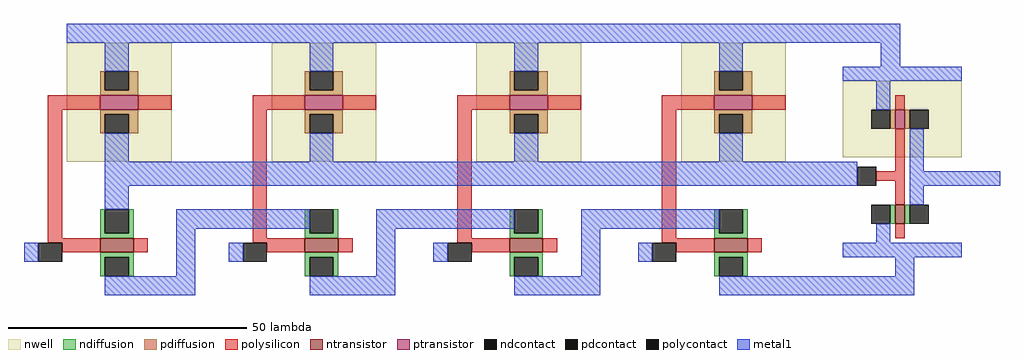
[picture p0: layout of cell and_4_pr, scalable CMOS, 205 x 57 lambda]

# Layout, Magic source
magic
tech scmos
<< nwell >>
rect -30 -6 -8 19
rect 13 -6 35 19
rect 56 -6 78 19
rect 99 -6 121 19
<< ntransistor >>
rect -23 -25 -16 -22
rect 20 -25 27 -22
rect 63 -25 70 -22
rect 106 -25 113 -22
<< ptransistor >>
rect -23 5 -15 8
rect 20 5 28 8
rect 63 5 71 8
rect 106 5 114 8
<< ndiffusion >>
rect -23 -21 -22 -16
rect -17 -21 -16 -16
rect -23 -22 -16 -21
rect 20 -21 21 -16
rect 26 -21 27 -16
rect 20 -22 27 -21
rect 63 -21 64 -16
rect 69 -21 70 -16
rect 63 -22 70 -21
rect 106 -21 107 -16
rect 112 -21 113 -16
rect 106 -22 113 -21
rect -23 -26 -16 -25
rect -23 -30 -22 -26
rect -17 -30 -16 -26
rect 20 -26 27 -25
rect 20 -30 21 -26
rect 26 -30 27 -26
rect 63 -26 70 -25
rect 63 -30 64 -26
rect 69 -30 70 -26
rect 106 -26 113 -25
rect 106 -30 107 -26
rect 112 -30 113 -26
<< pdiffusion >>
rect -23 9 -22 13
rect -17 9 -15 13
rect -23 8 -15 9
rect 20 9 21 13
rect 26 9 28 13
rect 20 8 28 9
rect 63 9 64 13
rect 69 9 71 13
rect 63 8 71 9
rect 106 9 107 13
rect 112 9 114 13
rect 106 8 114 9
rect -23 4 -15 5
rect -23 0 -22 4
rect -17 0 -15 4
rect 20 4 28 5
rect 20 0 21 4
rect 26 0 28 4
rect 63 4 71 5
rect 63 0 64 4
rect 69 0 71 4
rect 106 4 114 5
rect 106 0 107 4
rect 112 0 114 4
<< ndcontact >>
rect -22 -21 -17 -16
rect 21 -21 26 -16
rect 64 -21 69 -16
rect 107 -21 112 -16
rect -22 -30 -17 -26
rect 21 -30 26 -26
rect 64 -30 69 -26
rect 107 -30 112 -26
<< pdcontact >>
rect -22 9 -17 13
rect 21 9 26 13
rect 64 9 69 13
rect 107 9 112 13
rect -22 0 -17 4
rect 21 0 26 4
rect 64 0 69 4
rect 107 0 112 4
<< polysilicon >>
rect -34 5 -23 8
rect -15 5 -8 8
rect 9 5 20 8
rect 28 5 35 8
rect 52 5 63 8
rect 71 5 78 8
rect 95 5 106 8
rect 114 5 121 8
rect -34 -22 -31 5
rect 9 -22 12 5
rect 52 -22 55 5
rect 95 -22 98 5
rect -34 -23 -23 -22
rect -31 -25 -23 -23
rect -16 -25 -13 -22
rect 9 -23 20 -22
rect 12 -25 20 -23
rect 27 -25 30 -22
rect 52 -23 63 -22
rect 55 -25 63 -23
rect 70 -25 73 -22
rect 95 -23 106 -22
rect 98 -25 106 -23
rect 113 -25 116 -22
<< polycontact >>
rect -36 -27 -31 -23
rect 7 -27 12 -23
rect 50 -27 55 -23
rect 93 -27 98 -23
<< metal1 >>
rect -30 19 145 23
rect -22 13 -17 19
rect 21 13 26 19
rect 64 13 69 19
rect 107 13 112 19
rect 141 12 145 19
rect -22 -6 -17 0
rect 21 -6 26 0
rect 64 -6 69 0
rect 107 -6 112 0
rect -22 -11 136 -6
rect 155 -11 166 -8
rect -22 -16 -17 -11
rect -7 -20 21 -16
rect -39 -27 -36 -23
rect -7 -30 -3 -20
rect 35 -20 64 -16
rect 4 -27 7 -23
rect -22 -34 -3 -30
rect 35 -30 39 -20
rect 78 -20 107 -16
rect 47 -27 50 -23
rect 21 -34 39 -30
rect 78 -30 82 -20
rect 90 -27 93 -23
rect 64 -34 82 -30
rect 144 -30 148 -24
rect 107 -34 148 -30
use inverter_unlab_pr  inverter_unlab_pr_0 /home/rupakantani
transform 1 0 142 0 1 -6
box -9 -20 16 20
<< end >>

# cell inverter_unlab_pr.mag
magic
tech scmos
<< nwell >>
rect -9 1 16 17
<< ntransistor >>
rect 2 -13 4 -9
<< ptransistor >>
rect 2 7 4 11
<< ndiffusion >>
rect 1 -13 2 -9
rect 4 -13 5 -9
<< pdiffusion >>
rect 1 7 2 11
rect 4 7 5 11
<< ndcontact >>
rect -3 -13 1 -9
rect 5 -13 9 -9
<< pdcontact >>
rect -3 7 1 11
rect 5 7 9 11
<< polysilicon >>
rect 2 11 4 14
rect 2 -2 4 7
rect -2 -4 4 -2
rect 2 -9 4 -4
rect 2 -16 4 -13
<< polycontact >>
rect -6 -5 -2 -1
<< metal1 >>
rect -9 17 16 20
rect -2 11 1 17
rect -8 -5 -6 -1
rect 5 -2 8 7
rect 5 -5 16 -2
rect 5 -9 8 -5
rect -2 -17 1 -13
rect -9 -20 16 -17
<< end >>
